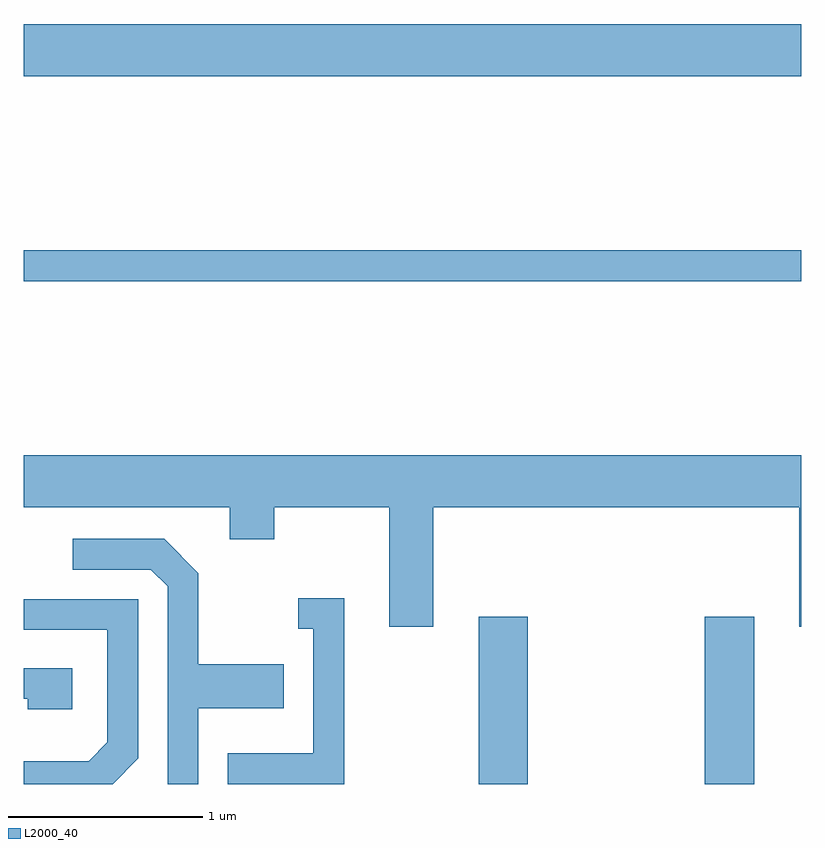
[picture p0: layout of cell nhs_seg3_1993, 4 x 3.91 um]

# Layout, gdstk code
import gdstk
lib = gdstk.Library(unit=1e-6, precision=1e-09)
def R(c, l, rs):  # rectangles x0, y0, x1, y1
    for r in rs: c.add(gdstk.rectangle(r[:2], r[2:], *l))
def P(c, l, *ps):  # polygons
    for p in ps: c.add(gdstk.Polygon(p, *l))
L2000_40 = (2000, 40)

nhs_seg3_1993 = lib.new_cell('nhs_seg3_1993')
R(nhs_seg3_1993, L2000_40, [(245.951,1157.892,246.204,1158.754), (247.116,1157.892,247.369,1158.754), (243.611,1160.481,247.611,1160.639), (243.611,1161.536,247.611,1161.804)])
P(nhs_seg3_1993, L2000_40, [(245.719,1159.316),(247.601,1159.316),(247.601,1158.701),(247.611,1158.701),(247.611,1159.584),(243.611,1159.584),(243.611,1159.316),(244.671,1159.316),(244.671,1159.151),(244.899,1159.151),(244.899,1159.316),(245.491,1159.316),(245.491,1158.701),(245.719,1158.701)],
  [(244.509,1158.281),(244.949,1158.281),(244.949,1158.509),(244.509,1158.509),(244.509,1158.977),(244.332,1159.154),(243.863,1159.154),(243.863,1158.996),(244.264,1158.996),(244.351,1158.909),(244.351,1157.892),(244.509,1157.892)],
  [(245.259,1158.849),(245.023,1158.849),(245.023,1158.691),(245.101,1158.691),(245.101,1158.049),(244.661,1158.049),(244.661,1157.892),(245.259,1157.892)],
  [(244.199,1158.024),(244.199,1158.844),(243.611,1158.844),(243.611,1158.686),(244.041,1158.686),(244.041,1158.107),(243.944,1158.009),(243.611,1158.009),(243.611,1157.892),(244.068,1157.892)],
  [(243.859,1158.489),(243.611,1158.489),(243.611,1158.331),(243.631,1158.331),(243.631,1158.276),(243.859,1158.276)])

lib.write_gds('nhs_seg3_1993.gds')
